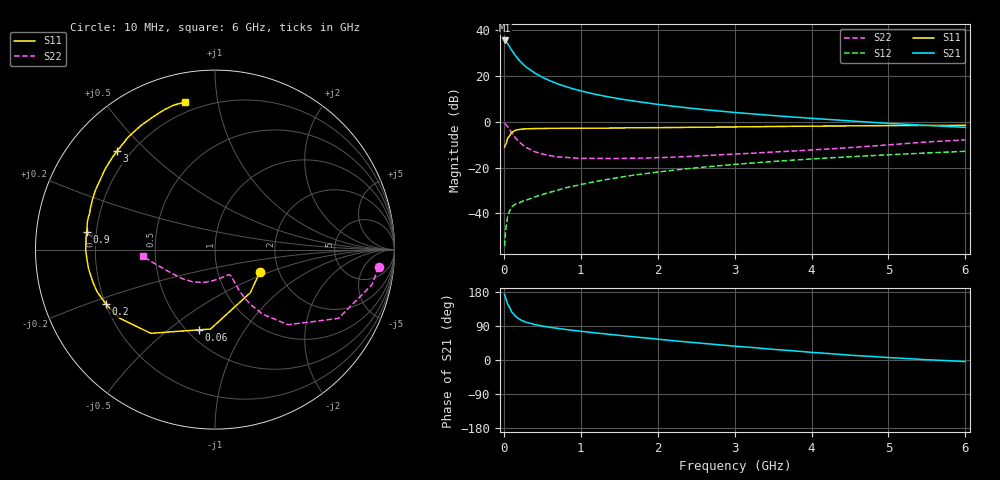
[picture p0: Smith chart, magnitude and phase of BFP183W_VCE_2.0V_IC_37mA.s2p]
! Infineon Technologies  Discrete & RF Semiconductors
! BFP183W
! VCE =  2.0 V,  IC =  37 mA
! Common Emitter S-Parameters:  Jan 2017
# GHz  S  MA  R  50
!  f  S11  S21  S12  S22
! GHz  MAG  ANG  MAG  ANG  MAG  ANG  MAG  ANG
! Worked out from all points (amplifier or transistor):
!   77 points, 10 MHz to 6 GHz, reference 50 ohm
!   highest |S21| = 35.6 dB at 10 MHz (marker M1)
!   |S21| within 3 dB of that: start of sweep to 78.49 MHz
!   unconditionally stable (mu >= 1): 577.5 MHz to 3.908 GHz
!   at 130 MHz: K = 0.41, MSG = 33.3 dB, |S12| = -36.5 dB
!   at 2.2 GHz: K = 1.13, MAG = 11.8 dB, |S12| = -21.2 dB
!   at 6 GHz: K = 0.91, MSG = 5.2 dB, |S12| = -12.9 dB
!   S11 on the Smith chart (normalised r, x): 10 MHz: 1.60, -0.43; 60 MHz: 0.57, -0.64; 200 MHz: 0.20, -0.22; 900 MHz: 0.16, +0.07; 3 GHz: 0.15, +0.41; 6 GHz: 0.15, +0.81
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0.01  0.2797 -26.0  60.46 173.5  0.0019 87.6  0.9164 -6.1
0.02  0.3104 -50.7  59.29 165.7  0.0034 81.3  0.8964 -12.6
0.05  0.4432 -93.2  51.32 147.3  0.0086 63.6  0.7873 -29.1
0.06  0.4565 -101.5  48.17 144.2  0.0096 60.3  0.7427 -31.7
0.1  0.5877 -127.5  37.58 126.9  0.0137 52.0  0.5849 -45.7
0.15  0.6545 -144.3  28.28 115.4  0.0159 46.2  0.4476 -53.6
0.2  0.6804 -153.7  22.26 108.0  0.0168 46.0  0.3635 -57.1
0.25  0.6977 -160.4  18.24 102.8  0.0186 46.0  0.3075 -58.7
0.3  0.7039 -165.0  15.38 99.1  0.0195 47.1  0.2693 -59.3
0.4  0.7129 -171.6  11.76 93.6  0.0227 50.9  0.2227 -59.3
0.5  0.7157 -176.2  9.45 89.6  0.0256 53.8  0.1976 -58.9
0.6  0.7205 -179.8  7.913 86.3  0.0288 57.0  0.1819 -59.0
0.7  0.7198 177.4  6.789 83.5  0.0319 58.9  0.1715 -58.8
0.9  0.721 172.2  5.283 78.2  0.0388 61.9  0.1623 -60.4
1.1  0.7278 167.7  4.346 73.7  0.046 63.5  0.1589 -62.9
1.5  0.733 160.0  3.195 65.1  0.061 64.5  0.1577 -70.5
2.1  0.7484 148.9  2.304 53.0  0.0833 63.4  0.1665 -86.2
3  0.7741 134.8  1.607 36.5  0.1171 58.8  0.1971 -112.1
3.1  0.7766 133.3  1.558 35.0  0.1208 58.2  0.2006 -114.9
4.1  0.8066 119.7  1.164 18.8  0.1576 51.7  0.2478 -140.7
5.1  0.8296 109.4  0.908 5.4  0.1935 44.7  0.3232 -163.3
6  0.8388 101.5  0.756 -4.2  0.2263 37.9  0.4036 -175.2
